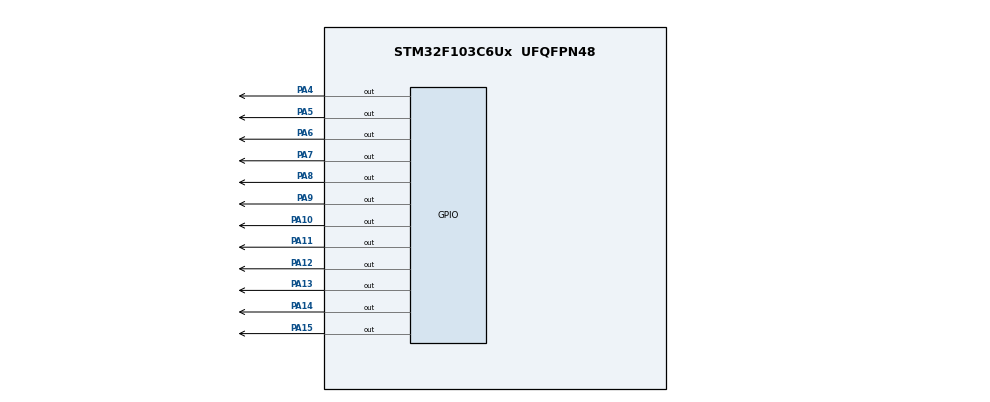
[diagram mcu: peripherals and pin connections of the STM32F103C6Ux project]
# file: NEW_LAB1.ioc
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Mcu.Family=STM32F1
Mcu.Name=STM32F103C6Ux
Mcu.Package=UFQFPN48
NVIC.PriorityGroup=NVIC_PRIORITYGROUP_4
PA10.Signal=GPIO_Output
PA11.Signal=GPIO_Output
PA12.Signal=GPIO_Output
PA13.Signal=GPIO_Output
PA14.Signal=GPIO_Output
PA15.Signal=GPIO_Output
PA4.Signal=GPIO_Output
PA5.Signal=GPIO_Output
PA6.Signal=GPIO_Output
PA7.Signal=GPIO_Output
PA8.Signal=GPIO_Output
PA9.Signal=GPIO_Output
ProjectManager.HeapSize=0x200
ProjectManager.StackSize=0x400
ProjectManager.TargetToolchain=STM32CubeIDE
RCC.APB1Freq_Value=8000000
RCC.APB2Freq_Value=8000000
VP_SYS_VS_ND.Mode=No_Debug
board=custom

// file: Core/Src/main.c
/* USER CODE BEGIN Header */
/**
  ******************************************************************************
  * @file           : main.c
  * @brief          : Main program body
  ******************************************************************************
  * @attention
  *
  * <h2><center>&copy; Copyright (c) 2026 STMicroelectronics.
  * All rights reserved.</center></h2>
  *
  * This software component is licensed by ST under BSD 3-Clause license,
  * the "License"; You may not use this file except in compliance with the
  * License. You may obtain a copy of the License at:
  *                        opensource.org/licenses/BSD-3-Clause
  *
  ******************************************************************************
  */
/* USER CODE END Header */
#include "main.h"

void SystemClock_Config(void);
static void MX_GPIO_Init(void);

int main(void)
{

  /* MCU Configuration--------------------------------------------------------*/

  /* Reset of all peripherals, Initializes the Flash interface and the Systick. */
  HAL_Init();

  /* Configure the system clock */
  SystemClock_Config();

  /* Initialize all configured peripherals */
  MX_GPIO_Init();

  /* Infinite loop */
  /* USER CODE BEGIN WHILE */
  uint16_t led_pins[12] = {
      GPIO_PIN_4,  GPIO_PIN_5,  GPIO_PIN_6,  GPIO_PIN_7,
      GPIO_PIN_8,  GPIO_PIN_9,  GPIO_PIN_10, GPIO_PIN_11,
      GPIO_PIN_12, GPIO_PIN_13, GPIO_PIN_14, GPIO_PIN_15
  };

  int hour = 0;
  int minute = 0;
  int second = 0;

  void clearAllClock() {
      for (int i = 0; i < 12; i++) {
          HAL_GPIO_WritePin(GPIOA, led_pins[i], GPIO_PIN_SET);
      }
  }

  void setNumberOnClock(int num) {
      if (num >= 0 && num <= 11) {
          HAL_GPIO_WritePin(GPIOA, led_pins[num], GPIO_PIN_RESET);
      }
  }

  void clearNumberOnClock(int num) {
      if (num >= 0 && num <= 11) {
          HAL_GPIO_WritePin(GPIOA, led_pins[num], GPIO_PIN_SET);
      }
  }

  while (1)
  {
    /* USER CODE END WHILE */

    /* USER CODE BEGIN 3 */
	  clearAllClock();

	        int hour_pos = hour % 12;
	        int minute_pos = minute / 5;
	        int second_pos = second / 5;

	        setNumberOnClock(hour_pos);
	        setNumberOnClock(minute_pos);
	        setNumberOnClock(second_pos);

	        HAL_Delay(1000);

	        second++;
	        if (second >= 60) {
	            second = 0;
	            minute++;
	            if (minute >= 60) {
	                minute = 0;
	                hour++;
	                if (hour >= 12) {
	                    hour = 0;
	                }
	            }
	        }

  }
  /* USER CODE END 3 */
}

void SystemClock_Config(void)
{
  RCC_OscInitTypeDef RCC_OscInitStruct = {0};
  RCC_ClkInitTypeDef RCC_ClkInitStruct = {0};

  /** Initializes the RCC Oscillators according to the specified parameters
  * in the RCC_OscInitTypeDef structure.
  */
  RCC_OscInitStruct.OscillatorType = RCC_OSCILLATORTYPE_HSI;
  RCC_OscInitStruct.HSIState = RCC_HSI_ON;
  RCC_OscInitStruct.HSICalibrationValue = RCC_HSICALIBRATION_DEFAULT;
  RCC_OscInitStruct.PLL.PLLState = RCC_PLL_NONE;
  if (HAL_RCC_OscConfig(&RCC_OscInitStruct) != HAL_OK)
  {
    Error_Handler();
  }
  /** Initializes the CPU, AHB and APB buses clocks
  */
  RCC_ClkInitStruct.ClockType = RCC_CLOCKTYPE_HCLK|RCC_CLOCKTYPE_SYSCLK
                              |RCC_CLOCKTYPE_PCLK1|RCC_CLOCKTYPE_PCLK2;
  RCC_ClkInitStruct.SYSCLKSource = RCC_SYSCLKSOURCE_HSI;
  RCC_ClkInitStruct.AHBCLKDivider = RCC_SYSCLK_DIV1;
  RCC_ClkInitStruct.APB1CLKDivider = RCC_HCLK_DIV1;
  RCC_ClkInitStruct.APB2CLKDivider = RCC_HCLK_DIV1;

  if (HAL_RCC_ClockConfig(&RCC_ClkInitStruct, FLASH_LATENCY_0) != HAL_OK)
  {
    Error_Handler();
  }
}

static void MX_GPIO_Init(void)
{
  GPIO_InitTypeDef GPIO_InitStruct = {0};

  /* GPIO Ports Clock Enable */
  __HAL_RCC_GPIOA_CLK_ENABLE();

  /*Configure GPIO pin Output Level */
  HAL_GPIO_WritePin(GPIOA, GPIO_PIN_4|GPIO_PIN_5|GPIO_PIN_6|GPIO_PIN_7
                          |GPIO_PIN_8|GPIO_PIN_9|GPIO_PIN_10|GPIO_PIN_11
                          |GPIO_PIN_12|GPIO_PIN_13|GPIO_PIN_14|GPIO_PIN_15, GPIO_PIN_RESET);

  /*Configure GPIO pins : PA4 PA5 PA6 PA7
                           PA8 PA9 PA10 PA11
                           PA12 PA13 PA14 PA15 */
  GPIO_InitStruct.Pin = GPIO_PIN_4|GPIO_PIN_5|GPIO_PIN_6|GPIO_PIN_7
                          |GPIO_PIN_8|GPIO_PIN_9|GPIO_PIN_10|GPIO_PIN_11
                          |GPIO_PIN_12|GPIO_PIN_13|GPIO_PIN_14|GPIO_PIN_15;
  GPIO_InitStruct.Mode = GPIO_MODE_OUTPUT_PP;
  GPIO_InitStruct.Pull = GPIO_NOPULL;
  GPIO_InitStruct.Speed = GPIO_SPEED_FREQ_LOW;
  HAL_GPIO_Init(GPIOA, &GPIO_InitStruct);

}

void Error_Handler(void)
{
  __disable_irq();
  while (1)
  {
  }
}

/************************ (C) COPYRIGHT STMicroelectronics *****END OF FILE****/
